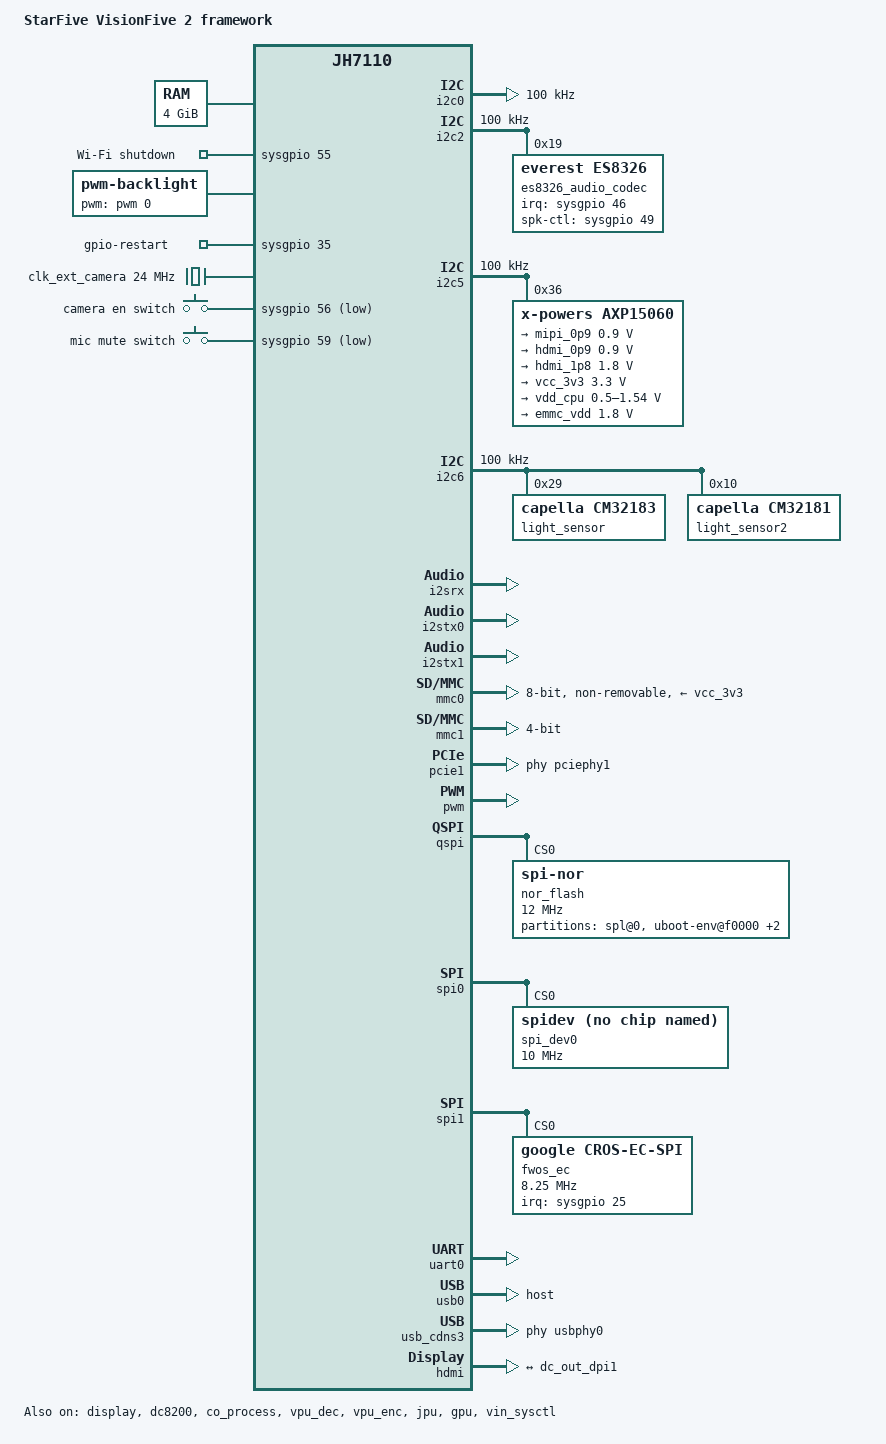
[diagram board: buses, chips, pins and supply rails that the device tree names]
// SPDX-License-Identifier: GPL-2.0 OR MIT
/*
 * Copyright (C) 2022 StarFive Technology Co., Ltd.
 * Copyright (C) 2022 Emil Renner Berthing <kernel@esmil.dk>
 */

/dts-v1/;
#include "jh7110.dtsi"
#include "jh7110-pinfunc.h"
#include <dt-bindings/leds/common.h>
#include <dt-bindings/gpio/gpio.h>
#include <dt-bindings/input/linux-event-codes.h>

/ {
	model = "StarFive VisionFive 2 framework";
	compatible = "starfive,visionfive-2-framework", "starfive,jh7110";

	aliases {
//		ethernet0 = &gmac0;
//		ethernet1 = &gmac1;
		i2c0 = &i2c0;
		i2c1 = &i2c1;
		i2c2 = &i2c2;
		i2c3 = &i2c3;
		i2c4 = &i2c4;
		i2c5 = &i2c5;
		i2c6 = &i2c6;
		mmc0 = &mmc0;
		mmc1 = &mmc1;
		pcie0 = &pcie0;
		pcie1 = &pcie1;
		serial0 = &uart0;
		serial3 = &uart3;
	};

	chosen {
		stdout-path = "serial0:115200n8";
	};

	cpus {
		timebase-frequency = <4000000>;
	};

	memory@40000000 {
		device_type = "memory";
		reg = <0x0 0x40000000 0x1 0x0>;
	};

	reserved-memory {
		#address-cells = <2>;
		#size-cells = <2>;
		ranges;

		linux,cma {
			compatible = "shared-dma-pool";
			reusable;
			size = <0x0 0x20000000>;
			alignment = <0x0 0x1000>;
			alloc-ranges = <0x0 0x70000000 0x0 0x20000000>;
			linux,cma-default;
		};

		e24_mem: e24@c0000000 {
			reg = <0x0 0x6ce00000 0x0 0x1600000>;
		};

		xrp_reserved: xrpbuffer@f0000000 {
			reg = <0x0 0x69c00000 0x0 0x01ffffff
				0x0 0x6bc00000 0x0 0x00001000
				0x0 0x6bc01000 0x0 0x00fff000
				0x0 0x6cc00000 0x0 0x00001000>;
		};
	};

//	leds {
//		compatible = "gpio-leds";
//
//		led-ack {
//			gpios = <&aongpio 3 GPIO_ACTIVE_HIGH>;
//			color = <LED_COLOR_ID_GREEN>;
//			function = LED_FUNCTION_HEARTBEAT;
//			linux,default-trigger = "heartbeat";
//			label = "ack";
//		};
//	};

	rfkill_wifi {
		compatible = "rfkill-gpio";
		label = "Wi-Fi";
		radio-type = "wlan";
		shutdown-gpios = <&sysgpio 55 GPIO_ACTIVE_HIGH>;
	};

	backlight: backlight {
		compatible = "pwm-backlight";
		pwms = <&pwm 0 5000000 0 >;
		status = "okay";
		brightness-levels = <
			0   1   2   3   4   5   6   7
			8   9  10  11  12  13  14  15
		       16  17  18  19  20  21  22  23
		       24  25  26  27  28  29  30  31
		       32  33  34  35  36  37  38  39
		       40  41  42  43  44  45  46  47
		       48  49  50  51  52  53  54  55
		       56  57  58  59  60  61  62  63
		       64  65  66  67  68  69  70  71
		       72  73  74  75  76  77  78  79
		       80  81  82  83  84  85  86  87
		       88  89  90  91  92  93  94  95
		       96  97  98  99 100 101 102 103
		      104 105 106 107 108 109 110 111
		      112 113 114 115 116 117 118 119
		      120 121 122 123 124 125 126 127
		      128 129 130 131 132 133 134 135
		      136 137 138 139 140 141 142 143
		      144 145 146 147 148 149 150 151
		      152 153 154 155 156 157 158 159
		      160 161 162 163 164 165 166 167
		      168 169 170 171 172 173 174 175
		      176 177 178 179 180 181 182 183
		      184 185 186 187 188 189 190 191
		      192 193 194 195 196 197 198 199
		      200 201 202 203 204 205 206 207
		      208 209 210 211 212 213 214 215
		      216 217 218 219 220 221 222 223
		      224 225 226 227 228 229 230 231
		      232 233 234 235 236 237 238 239
		      240 241 242 243 244 245 246 247
		      248 249 250 251 252 253 254 255>;
		default-brightness-level = <255>;
	};

	gpio-restart {
		compatible = "gpio-restart";
		gpios = <&sysgpio 35 GPIO_ACTIVE_HIGH>;
		priority = <224>;
	};

//	pwmdac_codec: pwmdac-codec {
//		compatible = "linux,spdif-dit";
//		#sound-dai-cells = <0>;
//	};

	sound7: snd-card7 {
		compatible = "simple-audio-card";
		simple-audio-card,name = "Starfive-ES8326-Sound-Card";
		#address-cells = <1>;
		#size-cells = <0>;
	};
		
//	sound3: snd-card3 {
//		compatible = "simple-audio-card";
//		simple-audio-card,name = "Starfive-PWMDAC-Sound-Card";
//		#address-cells = <1>;
//		#size-cells = <0>;
//
//		simple-audio-card,dai-link@0 {
//			reg = <0>;
//			format = "left_j";
//			bitclock-master = <&sndcpu0>;
//			frame-master = <&sndcpu0>;
//
//			sndcpu0: cpu {
//				sound-dai = <&pwmdac>;
//			};
//
//			codec {
//				sound-dai = <&pwmdac_codec>;
//			};
//		};
//	};

	sound1: snd-card1 {
		compatible = "simple-audio-card";
		#address-cells = <1>;
		#size-cells = <0>;

		simple-audio-card,name = "Starfive-HDMI-Sound-Card";
		simple-audio-card,dai-link@0 {
			reg = <0>;
			format = "i2s";
			bitclock-master = <&sndi2s0>;
			frame-master = <&sndi2s0>;
			mclk-fs = <256>;
			status = "okay";

			sndi2s0: cpu {
				sound-dai = <&i2stx0>;
			};

			codec {
				sound-dai = <&hdmi>;
			};
		};
	};

//	ac108_mclk: ac108_mclk {
//		compatible = "fixed-clock";
//		#clock-cells = <0>;
//		clock-frequency = <24000000>;
//	};

	clk_ext_camera: clk-ext-camera {
		compatible = "fixed-clock";
		#clock-cells = <0>;
		clock-frequency = <24000000>;
	};

//	wm8960_mclk: wm8960_mclk {
//		compatible = "fixed-clock";
//		#clock-cells = <0>;
//		clock-frequency = <24576000>;
//	};

	gpio_keys: gpio-keys {
		status = "okay";
		compatible = "gpio-keys";
		autorepeat;

		camera-en-sw {
			label = "camera en switch";
			debounce-interval = <10>;
			linux,input-type = <EV_SW>;
			linux,code = <SW_CAMERA_LENS_COVER>;
			gpios = <&sysgpio 56 GPIO_ACTIVE_LOW>;
		};

		mic-mute-sw {
			label = "mic mute switch";
			debounce-interval = <10>;
			linux,input-type = <EV_SW>;
			linux,code = <SW_MUTE_DEVICE>;
			gpios = <&sysgpio 59 GPIO_ACTIVE_LOW>;
		};
	};
};

&dvp_clk {
	clock-frequency = <74250000>;
};

//&gmac0_rgmii_rxin {
//	clock-frequency = <125000000>;
//};

//&gmac0_rmii_refin {
//	clock-frequency = <50000000>;
//};

//&gmac1_rgmii_rxin {
//	clock-frequency = <125000000>;
//};

//&gmac1_rmii_refin {
//	clock-frequency = <50000000>;
//};

&hdmitx0_pixelclk {
	clock-frequency = <297000000>;
};

&i2srx_bclk_ext {
	clock-frequency = <12288000>;
};

&i2srx_lrck_ext {
	clock-frequency = <192000>;
};

&i2stx_bclk_ext {
	clock-frequency = <12288000>;
};

&i2stx_lrck_ext {
	clock-frequency = <192000>;
};

&mclk_ext {
	clock-frequency = <12288000>;
};

&osc {
	clock-frequency = <24000000>;
};

&rtc_osc {
	clock-frequency = <32768>;
};

&tdm_ext {
	clock-frequency = <49152000>;
};

//&gmac0 {
//	phy-handle = <&phy0>;
//	phy-mode = "rgmii-id";
//	status = "okay";
//
//	mdio {
//		#address-cells = <1>;
//		#size-cells = <0>;
//		compatible = "snps,dwmac-mdio";
//
//		phy0: ethernet-phy@0 {
//			reg = <0>;
//		};
//	};
//};

//&gmac1 {
//	phy-handle = <&phy1>;
//	phy-mode = "rgmii-id";
//	status = "okay";
//
//	mdio {
//		#address-cells = <1>;
//		#size-cells = <0>;
//		compatible = "snps,dwmac-mdio";
//
//		phy1: ethernet-phy@1 {
//			reg = <0>;
//		};
//	};
//};

&i2c0 {
	clock-frequency = <100000>;
	i2c-sda-hold-time-ns = <300>;
	i2c-sda-falling-time-ns = <510>;
	i2c-scl-falling-time-ns = <510>;
	pinctrl-names = "default";
	pinctrl-0 = <&i2c0_pins>;
	status = "okay";
};

&i2c2 {
	clock-frequency = <100000>;
	i2c-sda-hold-time-ns = <300>;
	i2c-sda-falling-time-ns = <510>;
	i2c-scl-falling-time-ns = <510>;
	pinctrl-names = "default";
	pinctrl-0 = <&i2c2_pins>;
	status = "okay";

//	seeed_plane_i2c@45 {
//		compatible = "seeed_panel";
//		reg = <0x45>;
//
//		port {
//			panel_out0: endpoint {
//				remote-endpoint = <&dsi0_output>;
//			};
//		};
//	};

	tinker_ft5406: tinker_ft5406@38 {
		compatible = "tinker_ft5406";
		reg = <0x38>;
		status = "disabled";
	};

	touchscreen@14 {
		compatible = "goodix,gt911";
		reg = <0x14>;
		irq-gpios = <&sysgpio 30 GPIO_ACTIVE_HIGH>;
		reset-gpios = <&sysgpio 31 GPIO_ACTIVE_HIGH>;
		status = "disabled";
	};

//	panel_radxa@19 {
//		compatible ="starfive_jadard";
//		reg = <0x19>;
//		reset-gpio = <&sysgpio 23 0>;
//		enable-gpio = <&sysgpio 22 0>;
//
//		port {
//			panel_out1: endpoint {
//				remote-endpoint = <&dsi1_output>;
//			};
//		};
//	};

	es8326_audio_codec: es8326@19 {
		#sound-dai-cells = <0>;
		compatible = "everest,es8326";
		reg = <0x19>;
		irq-gpio = <&sysgpio 46 0>;
		spk-ctl-gpio = <&sysgpio 49 0>;
//		everest,jack-detect-inverted;
		everest,jack-pol = [0e];
		everest,mic1-src = [00];
		everest,mic2-src = [44];
		everest,interrupt-src = [08];
        everest,interrupt-clk = [45];
		status = "okay";
	};
};

&i2c5 {
	clock-frequency = <100000>;
	i2c-sda-hold-time-ns = <300>;
	i2c-sda-falling-time-ns = <510>;
	i2c-scl-falling-time-ns = <510>;
	pinctrl-names = "default";
	pinctrl-0 = <&i2c5_pins>;
	status = "okay";

	axp15060: pmic@36 {
		compatible = "x-powers,axp15060";
		reg = <0x36>;
		interrupts = <0>;
		interrupt-controller;
		#interrupt-cells = <1>;

		regulators {
			mipi_0p9: ALDO1 {
				regulator-boot-on;
				regulator-compatible = "aldo1";
				regulator-name = "mipi_0p9";
				regulator-min-microvolt = <900000>;
				regulator-max-microvolt = <900000>;
			};

			hdmi_0p9: ALDO5 {
				regulator-boot-on;
				regulator-compatible = "aldo5";
				regulator-name = "hdmi_0p9";
				regulator-min-microvolt = <900000>;
				regulator-max-microvolt = <900000>;
			};

			hdmi_1p8: ALDO3 {
				regulator-boot-on;
				regulator-compatible = "aldo3";
				regulator-name = "hdmi_1p8";
				regulator-min-microvolt = <1800000>;
				regulator-max-microvolt = <1800000>;
			};

			vcc_3v3: dcdc1 {
				regulator-boot-on;
				regulator-always-on;
				regulator-min-microvolt = <3300000>;
				regulator-max-microvolt = <3300000>;
				regulator-compatible = "dcdc1";
				regulator-name = "vcc_3v3";
			};

			vdd_cpu: dcdc2 {
				regulator-always-on;
				regulator-min-microvolt = <500000>;
				regulator-max-microvolt = <1540000>;
				regulator-compatible = "dcdc2";
				regulator-name = "vdd-cpu";
			};

			emmc_vdd: aldo4 {
				regulator-boot-on;
				regulator-always-on;
				regulator-min-microvolt = <1800000>;
				regulator-max-microvolt = <1800000>;
				regulator-compatible = "aldo4";
				regulator-name = "emmc_vdd";
			};
		};
	};
};

&i2c6 {
	clock-frequency = <100000>;
	i2c-sda-hold-time-ns = <300>;
	i2c-sda-falling-time-ns = <510>;
	i2c-scl-falling-time-ns = <510>;
	pinctrl-names = "default";
	pinctrl-0 = <&i2c6_pins>;
	status = "okay";

	imx219: imx219@10 {
		compatible = "sony,imx219";
		reg = <0x10>;
		clocks = <&clk_ext_camera>;
		clock-names = "xclk";
		reset-gpio = <&sysgpio 18 0>;
		rotation = <0>;
		orientation = <1>; //CAMERA_ORIENTATION_BACK
		status = "disabled";

		port {
			/* CSI2 bus endpoint */
			imx219_to_csi2rx0: endpoint {
				remote-endpoint = <&csi2rx0_from_imx219>;
				bus-type = <4>;      /* MIPI CSI-2 D-PHY */
				clock-lanes = <4>;
				data-lanes = <0 1>;
				lane-polarities = <0 0 0>;
				link-frequencies = /bits/ 64 <456000000>;
			};
		};
	};

	imx708: imx708@1a {
		compatible = "sony,imx708";
		reg = <0x1a>;
		clocks = <&clk_ext_camera>;
		reset-gpio = <&sysgpio 18 0>;
		status = "disabled";

		port {
			imx708_to_csi2rx0: endpoint {
				remote-endpoint = <&csi2rx0_from_imx708>;
				data-lanes = <1 2>;
				clock-noncontinuous;
				link-frequencies = /bits/ 64 <450000000>;
			};
		};
	};

	ov4689: ov4689@36 {
		compatible = "ovti,ov4689";
		reg = <0x36>;
		clocks = <&clk_ext_camera>;
		clock-names = "xclk";
		rotation = <180>;
		status = "disabled";

		port {
			/* Parallel bus endpoint */
			ov4689_to_csi2rx0: endpoint {
				remote-endpoint = <&csi2rx0_from_ov4689>;
				bus-type = <4>;		/* MIPI CSI-2 D-PHY */
				clock-lanes = <0>;
				data-lanes = <1 2>;
			};
		};
	};

	touchpad: hid@2c {
		compatible = "hid-over-i2c";
		reg = <0x2c>;
		hid-descr-addr = <0x0020>;
		post-power-on-delay-ms = <200>;
		irq-gpio = <&sysgpio 30 0>;
		status = "okay";
	};

	light_sensor: cm32183@29 {
		compatible = "capella,cm32183";
		reg = <0x29>;
//		interrupt-parent = <&sysgpio>;
//		interrupts = <47>;
//		irq-gpio = <&gpio 47 0>;
		status = "okay";
	};

	light_sensor2: cm32181@10 {
		compatible = "capella,cm32181";
		reg = <0x10>;
		status = "okay";
	};
};

&i2srx {
	pinctrl-names = "default";
	pinctrl-0 = <&i2srx_pins>;
	status = "okay";
};

&i2stx0 {
	pinctrl-names = "default";
	pinctrl-0 = <&mclk_ext_pins>;
	status = "okay";
};

&i2stx1 {
	pinctrl-names = "default";
	pinctrl-0 = <&i2stx1_pins>;
	status = "okay";
};

&mmc0 {
	max-frequency = <100000000>;
	assigned-clocks = <&syscrg JH7110_SYSCLK_SDIO0_SDCARD>;
	assigned-clock-rates = <50000000>;
	bus-width = <8>;
	cap-mmc-highspeed;
	mmc-ddr-1_8v;
	mmc-hs200-1_8v;
	non-removable;
	cap-mmc-hw-reset;
	post-power-on-delay-ms = <200>;
	pinctrl-names = "default";
	pinctrl-0 = <&mmc0_pins>;
	vmmc-supply = <&vcc_3v3>;
	vqmmc-supply = <&emmc_vdd>;
	status = "okay";
};

&mmc1 {
	max-frequency = <100000000>;
	assigned-clocks = <&syscrg JH7110_SYSCLK_SDIO1_SDCARD>;
	assigned-clock-rates = <50000000>;
	bus-width = <4>;
	no-sdio;
	no-mmc;
	broken-cd;
	cap-sd-highspeed;
	post-power-on-delay-ms = <200>;
	pinctrl-names = "default";
	pinctrl-0 = <&mmc1_pins>;
	status = "okay";
};

&pcie0 {
	perst-gpios = <&sysgpio 26 GPIO_ACTIVE_LOW>;
	phys = <&pciephy0>;
	pinctrl-names = "default";
	pinctrl-0 = <&pcie0_pins>;
	status = "disabled";
};

&pcie1 {
	perst-gpios = <&sysgpio 21 GPIO_ACTIVE_LOW>;
	phys = <&pciephy1>;
	pinctrl-names = "default";
	pinctrl-0 = <&pcie1_pins>;
	status = "okay";
};

&pciephy0 {
	starfive,sys-syscon = <&sys_syscon 0x18>;
	starfive,stg-syscon = <&stg_syscon 0x148 0x1f4>;
};

&pwm {
	pinctrl-names = "default";
	pinctrl-0 = <&pwm_pins>;
	status = "okay";
};

//&pwmdac {
//	pinctrl-names = "default";
//	pinctrl-0 = <&pwmdac_pins>;
//	status = "okay";
//};

&qspi {
	#address-cells = <1>;
	#size-cells = <0>;
	status = "okay";

	nor_flash: flash@0 {
		compatible = "jedec,spi-nor";
		reg = <0>;
		cdns,read-delay = <5>;
		spi-max-frequency = <12000000>;
		cdns,tshsl-ns = <1>;
		cdns,tsd2d-ns = <1>;
		cdns,tchsh-ns = <1>;
		cdns,tslch-ns = <1>;

		partitions {
			compatible = "fixed-partitions";
			#address-cells = <1>;
			#size-cells = <1>;

			spl@0 {
				reg = <0x0 0x80000>;
			};
			uboot-env@f0000 {
				reg = <0xf0000 0x10000>;
			};
			uboot@100000 {
				reg = <0x100000 0x400000>;
			};
			reserved-data@600000 {
				reg = <0x600000 0xa00000>;
			};
		};
	};
};

&spi0 {
	pinctrl-names = "default";
	pinctrl-0 = <&spi0_pins>;
	status = "okay";

	spi_dev0: spi@0 {
		compatible = "rohm,dh2228fv";
		reg = <0>;
		spi-max-frequency = <10000000>;
	};
};

&spi1 {
	pinctrl-names = "default";
	pinctrl-0 = <&spi1_pins>;
	status = "okay";

	fwos_ec: spi@1 {
		compatible = "google,cros-ec-spi";
		irq-gpio = <&sysgpio 25 0>;
		pl022,interface = <0>;
		pl022,com-mode = <1>;
		spi-max-frequency = <8250000>;
		reg = <0>;
		google,fwos-ec-spi-pre-delay = <10>;
		google,fwos-ec-spi-msg-delay = <30>;
		status = "okay";
	};
};

&sysgpio {
	i2c0_pins: i2c0-0 {
		i2c-pins {
			pinmux = <GPIOMUX(57, GPOUT_LOW,
					      GPOEN_SYS_I2C0_CLK,
					      GPI_SYS_I2C0_CLK)>,
				 <GPIOMUX(58, GPOUT_LOW,
					      GPOEN_SYS_I2C0_DATA,
					      GPI_SYS_I2C0_DATA)>;
			bias-disable; /* external pull-up */
			input-enable;
			input-schmitt-enable;
		};
	};

	i2c2_pins: i2c2-0 {
		i2c-pins {
			pinmux = <GPIOMUX(3, GPOUT_LOW,
					     GPOEN_SYS_I2C2_CLK,
					     GPI_SYS_I2C2_CLK)>,
				 <GPIOMUX(2, GPOUT_LOW,
					     GPOEN_SYS_I2C2_DATA,
					     GPI_SYS_I2C2_DATA)>;
			bias-disable; /* external pull-up */
			input-enable;
			input-schmitt-enable;
		};
	};

	i2c5_pins: i2c5-0 {
		i2c-pins {
			pinmux = <GPIOMUX(19, GPOUT_LOW,
					      GPOEN_SYS_I2C5_CLK,
					      GPI_SYS_I2C5_CLK)>,
				 <GPIOMUX(20, GPOUT_LOW,
					      GPOEN_SYS_I2C5_DATA,
					      GPI_SYS_I2C5_DATA)>;
			bias-disable; /* external pull-up */
			input-enable;
			input-schmitt-enable;
		};
	};

	i2c6_pins: i2c6-0 {
		i2c-pins {
			pinmux = <GPIOMUX(16, GPOUT_LOW,
					      GPOEN_SYS_I2C6_CLK,
					      GPI_SYS_I2C6_CLK)>,
				 <GPIOMUX(17, GPOUT_LOW,
					      GPOEN_SYS_I2C6_DATA,
					      GPI_SYS_I2C6_DATA)>;
			bias-disable; /* external pull-up */
			input-enable;
			input-schmitt-enable;
		};
	};

	i2srx_pins: i2srx-0 {
		clk-sd-pins {
			pinmux = <GPIOMUX(38, GPOUT_LOW,
					      GPOEN_DISABLE,
					      GPI_SYS_I2SRX_BCLK)>,
				 <GPIOMUX(63, GPOUT_LOW,
					      GPOEN_DISABLE,
					      GPI_SYS_I2SRX_LRCK)>,
				 <GPIOMUX(38, GPOUT_LOW,
					      GPOEN_DISABLE,
					      GPI_SYS_I2STX1_BCLK)>,
				 <GPIOMUX(63, GPOUT_LOW,
					      GPOEN_DISABLE,
					      GPI_SYS_I2STX1_LRCK)>,
				 <GPIOMUX(44, GPOUT_LOW,
					      GPOEN_DISABLE,
					      GPI_SYS_I2SRX_SDIN0)>;
			input-enable;
		};
	};

	i2stx1_pins: i2stx1-0 {
		sd-pins {
			pinmux = <GPIOMUX(61, GPOUT_SYS_I2STX1_SDO0,
					      GPOEN_ENABLE,
					      GPI_NONE)>;
			bias-disable;
			input-disable;
		};
	};

	mclk_ext_pins: mclk-ext-0 {
		mclk-ext-pins {
			pinmux = <GPIOMUX(4, GPOUT_LOW,
					     GPOEN_DISABLE,
					     GPI_SYS_MCLK_EXT)>;
			input-enable;
		};
	};

	mmc0_pins: mmc0-0 {
		 rst-pins {
			pinmux = <GPIOMUX(62, GPOUT_SYS_SDIO0_RST,
					      GPOEN_ENABLE,
					      GPI_NONE)>;
			bias-pull-up;
			drive-strength = <12>;
			input-disable;
			input-schmitt-disable;
			slew-rate = <0>;
		};

		mmc-pins {
			pinmux = <PINMUX(64, 0)>,
				 <PINMUX(65, 0)>,
				 <PINMUX(66, 0)>,
				 <PINMUX(67, 0)>,
				 <PINMUX(68, 0)>,
				 <PINMUX(69, 0)>,
				 <PINMUX(70, 0)>,
				 <PINMUX(71, 0)>,
				 <PINMUX(72, 0)>,
				 <PINMUX(73, 0)>;
			bias-pull-up;
			drive-strength = <12>;
			input-enable;
		};
	};

	mmc1_pins: mmc1-0 {
		clk-pins {
			pinmux = <GPIOMUX(10, GPOUT_SYS_SDIO1_CLK,
					      GPOEN_ENABLE,
					      GPI_NONE)>;
			bias-pull-up;
			drive-strength = <12>;
			input-disable;
			input-schmitt-disable;
			slew-rate = <0>;
		};

		mmc-pins {
			pinmux = <GPIOMUX(9, GPOUT_SYS_SDIO1_CMD,
					     GPOEN_SYS_SDIO1_CMD,
					     GPI_SYS_SDIO1_CMD)>,
				 <GPIOMUX(11, GPOUT_SYS_SDIO1_DATA0,
					      GPOEN_SYS_SDIO1_DATA0,
					      GPI_SYS_SDIO1_DATA0)>,
				 <GPIOMUX(12, GPOUT_SYS_SDIO1_DATA1,
					      GPOEN_SYS_SDIO1_DATA1,
					      GPI_SYS_SDIO1_DATA1)>,
				 <GPIOMUX(7, GPOUT_SYS_SDIO1_DATA2,
					     GPOEN_SYS_SDIO1_DATA2,
					     GPI_SYS_SDIO1_DATA2)>,
				 <GPIOMUX(8, GPOUT_SYS_SDIO1_DATA3,
					     GPOEN_SYS_SDIO1_DATA3,
					     GPI_SYS_SDIO1_DATA3)>;
			bias-pull-up;
			drive-strength = <12>;
			input-enable;
			input-schmitt-enable;
			slew-rate = <0>;
		};
	};

	pcie0_pins: pcie0-0 {
		clkreq-pins {
			pinmux = <GPIOMUX(27, GPOUT_LOW,
					      GPOEN_DISABLE,
					      GPI_NONE)>;
			bias-pull-down;
			drive-strength = <2>;
			input-enable;
			input-schmitt-disable;
			slew-rate = <0>;
		};

		wake-pins {
			pinmux = <GPIOMUX(32, GPOUT_LOW,
					      GPOEN_DISABLE,
					      GPI_NONE)>;
			bias-pull-up;
			drive-strength = <2>;
			input-enable;
			input-schmitt-disable;
			slew-rate = <0>;
		};
	};

	pcie1_pins: pcie1-0 {
		clkreq-pins {
			pinmux = <GPIOMUX(29, GPOUT_LOW,
					      GPOEN_DISABLE,
					      GPI_NONE)>;
			bias-pull-down;
			drive-strength = <2>;
			input-enable;
			input-schmitt-disable;
			slew-rate = <0>;
		};

		wake-pins {
			pinmux = <GPIOMUX(28, GPOUT_HIGH,
					      GPOEN_DISABLE,
					      GPI_NONE)>;
			bias-pull-up;
			drive-strength = <2>;
			input-enable;
			input-schmitt-disable;
			slew-rate = <0>;
		};
	};

	pwm_pins: pwm-0 {
		pwm-pins {
			pinmux = <GPIOMUX(22, GPOUT_SYS_PWM_CHANNEL0,
					      GPOEN_SYS_PWM0_CHANNEL0,
					      GPI_NONE)>;
			bias-disable;
			drive-strength = <12>;
			input-disable;
			input-schmitt-disable;
			slew-rate = <0>;
		};
	};

	pwmdac_pins: pwmdac-0 {
		pwmdac-pins {
			pinmux = <GPIOMUX(33, GPOUT_SYS_PWMDAC_LEFT,
					      GPOEN_ENABLE,
					      GPI_NONE)>,
				 <GPIOMUX(34, GPOUT_SYS_PWMDAC_RIGHT,
					      GPOEN_ENABLE,
					      GPI_NONE)>;
			bias-disable;
			drive-strength = <2>;
			input-disable;
			input-schmitt-disable;
			slew-rate = <0>;
		};
	};

	spi0_pins: spi0-0 {
		mosi-pins {
			pinmux = <GPIOMUX(52, GPOUT_SYS_SPI0_TXD,
					      GPOEN_ENABLE,
					      GPI_NONE)>;
			bias-disable;
			input-disable;
			input-schmitt-disable;
		};

		miso-pins {
			pinmux = <GPIOMUX(53, GPOUT_LOW,
					      GPOEN_DISABLE,
					      GPI_SYS_SPI0_RXD)>;
			bias-pull-up;
			input-enable;
			input-schmitt-enable;
		};

		sck-pins {
			pinmux = <GPIOMUX(48, GPOUT_SYS_SPI0_CLK,
					      GPOEN_ENABLE,
					      GPI_SYS_SPI0_CLK)>;
			bias-disable;
			input-disable;
			input-schmitt-disable;
		};

		ss-pins {
			pinmux = <GPIOMUX(49, GPOUT_SYS_SPI0_FSS,
					      GPOEN_ENABLE,
					      GPI_SYS_SPI0_FSS)>;
			bias-disable;
			input-disable;
			input-schmitt-disable;
		};
	};

	spi1_pins: spi1-0 {
		mosi-pins {
			pinmux = <GPIOMUX(39, GPOUT_SYS_SPI1_TXD,
					      GPOEN_ENABLE,
					      GPI_NONE)>;
			bias-disable;
			input-disable;
			input-schmitt-disable;
		};

		miso-pins {
			pinmux = <GPIOMUX(36, GPOUT_LOW,
					      GPOEN_DISABLE,
					      GPI_SYS_SPI1_RXD)>;
			bias-pull-up;
			input-enable;
			input-schmitt-enable;
		};

		sck-pins {
			pinmux = <GPIOMUX(58, GPOUT_SYS_SPI1_CLK,
					      GPOEN_ENABLE,
					      GPI_SYS_SPI1_CLK)>;
			bias-disable;
			input-disable;
			input-schmitt-disable;
		};

		ss-pins {
			pinmux = <GPIOMUX(57, GPOUT_SYS_SPI1_FSS,
					      GPOEN_ENABLE,
					      GPI_SYS_SPI1_FSS)>;
			bias-disable;
			input-disable;
			input-schmitt-disable;
		};
	};

	tdm_pins: tdm-0 {
		tx-pins {
			pinmux = <GPIOMUX(44, GPOUT_SYS_TDM_TXD,
					      GPOEN_ENABLE,
					      GPI_NONE)>;
			bias-pull-up;
			drive-strength = <2>;
			input-disable;
			input-schmitt-disable;
			slew-rate = <0>;
		};

		rx-pins {
			pinmux = <GPIOMUX(61, GPOUT_HIGH,
					      GPOEN_DISABLE,
					      GPI_SYS_TDM_RXD)>;
			input-enable;
		};

		sync-pins {
			pinmux = <GPIOMUX(63, GPOUT_HIGH,
					      GPOEN_DISABLE,
					      GPI_SYS_TDM_SYNC)>;
			input-enable;
		};

		pcmclk-pins {
			pinmux = <GPIOMUX(38, GPOUT_HIGH,
					      GPOEN_DISABLE,
					      GPI_SYS_TDM_CLK)>;
			input-enable;
		};
	};

	uart0_pins: uart0-0 {
		tx-pins {
			pinmux = <GPIOMUX(5, GPOUT_SYS_UART0_TX,
					     GPOEN_ENABLE,
					     GPI_NONE)>;
			bias-disable;
			drive-strength = <12>;
			input-disable;
			input-schmitt-disable;
			slew-rate = <0>;
		};

		rx-pins {
			pinmux = <GPIOMUX(6, GPOUT_LOW,
					     GPOEN_DISABLE,
					     GPI_SYS_UART0_RX)>;
			bias-disable; /* external pull-up */
			drive-strength = <2>;
			input-enable;
			input-schmitt-enable;
			slew-rate = <0>;
		};
	};

	hdmi_pins: hdmi-0 {
		scl-pins {
			pinmux = <GPIOMUX(0, GPOUT_SYS_HDMI_DDC_SCL,
					     GPOEN_SYS_HDMI_DDC_SCL,
					     GPI_SYS_HDMI_DDC_SCL)>;
			bias-pull-up;
			input-enable;
		};

		sda-pins {
			pinmux = <GPIOMUX(1, GPOUT_SYS_HDMI_DDC_SDA,
					     GPOEN_SYS_HDMI_DDC_SDA,
					     GPI_SYS_HDMI_DDC_SDA)>;
			bias-pull-up;
			input-enable;
		};

		cec-pins {
			pinmux = <GPIOMUX(14, GPOUT_SYS_HDMI_CEC_SDA,
					      GPOEN_SYS_HDMI_CEC_SDA,
					      GPI_SYS_HDMI_CEC_SDA)>;
			bias-pull-up;
			input-enable;
		};

		hpd-pins {
			pinmux = <GPIOMUX(15, GPOUT_LOW,
					      GPOEN_DISABLE,
					      GPI_SYS_HDMI_HPD)>;
			bias-disable; /* external pull-up */
			input-enable;
		};
	};
};

&tdm {
	pinctrl-names = "default";
	pinctrl-0 = <&tdm_pins>;
	status = "disabled";
};

&uart0 {
	pinctrl-names = "default";
	pinctrl-0 = <&uart0_pins>;
	status = "okay";
};

&usb0 {
	dr_mode = "host"; /*host or peripheral*/
	status = "okay";
};

&usb_cdns3 {
	phys = <&usbphy0>, <&pciephy0>;
	phy-names = "cdns3,usb2-phy", "cdns3,usb3-phy";
};

&U74_1 {
	cpu-supply = <&vdd_cpu>;
};

&U74_2 {
	cpu-supply = <&vdd_cpu>;
};

&U74_3 {
	cpu-supply = <&vdd_cpu>;
};

&U74_4 {
	cpu-supply = <&vdd_cpu>;
};


&display {
	ports = <&dc_out_dpi0>;
	status = "okay";
};

&dc8200 {
	status = "okay";

	dc_out: port {
		#address-cells = <1>;
		#size-cells = <0>;
		dc_out_dpi0: endpoint@0 {
			reg = <0>;
			remote-endpoint = <&hdmi_input0>;
		};
		dc_out_dpi1: endpoint@1 {
			reg = <1>;
			remote-endpoint = <&hdmi_in_lcdc>;
		};

//		dc_out_dpi2: endpoint@2 {
//			reg = <2>;
//			remote-endpoint = <&mipi_in>;
//		};
		};
};

&hdmi {
	status = "okay";
	pinctrl-names = "default";
	pinctrl-0 = <&hdmi_pins>;
	hpd-gpio = <&sysgpio 15 GPIO_ACTIVE_HIGH>;
	hdmi_0p9-supply = <&hdmi_0p9>;
	hdmi_1p8-supply = <&hdmi_1p8>;

	hdmi_in: port {
		#address-cells = <1>;
		#size-cells = <0>;
		hdmi_in_lcdc: endpoint@0 {
			reg = <0>;
			remote-endpoint = <&dc_out_dpi1>;
		};
	};
};

&rgb_output {
	status = "disabled";

	ports {
		#address-cells = <1>;
		#size-cells = <0>;
		port@0 {
			#address-cells = <1>;
			#size-cells = <0>;
			reg = <0>;
			hdmi_input0:endpoint@0 {
				reg = <0>;
				remote-endpoint = <&dc_out_dpi0>;
			};
		};
	};
};

//&dsi_output {
//	status = "okay";
//
//	ports {
//		#address-cells = <1>;
//		#size-cells = <0>;
//
//		port@0 {
//			reg = <0>;
//			mipi_in: endpoint {
//				remote-endpoint = <&dc_out_dpi2>;
//			};
//		};
//
//		port@1 {
//			reg = <1>;
//			sf_dpi_output: endpoint {
//				remote-endpoint = <&dsi_in_port>;
//			};
//		};
//	};
//};

//&mipi_dsi {
//	status = "okay";
//
//	ports {
//		#address-cells = <1>;
//		#size-cells = <0>;
//
//		port@0 {
//			reg = <0>;
//			#address-cells = <1>;
//			#size-cells = <0>;
//
//			dsi0_output: endpoint@0 {
//				reg = <0>;
//				remote-endpoint = <&panel_out0>;
//			};
//
//			dsi1_output: endpoint@1 {
//				reg = <1>;
//				remote-endpoint = <&panel_out1>;
//			};
//
//		};
//
//		port@1{
//			reg = <1>;
//			dsi_in_port: endpoint {
//				remote-endpoint = <&sf_dpi_output>;
//			};
//		};
//
//	};
//};
//
//&mipi_dphy {
//	status = "okay";
//};

&co_process {
	memory-region = <&e24_mem>;
	status = "okay";
};


&mailbox_contrl0 {
	status = "okay";
};

&mailbox_client0 {
	status = "okay";
};

&vpu_dec {
	status = "okay";
};

&vpu_enc {
	status = "okay";
};

&jpu {
	status = "okay";
};

&gpu {
	status = "okay";
};

&vin_sysctl {
	/* when use dvp open this pinctrl*/
	status = "okay";
	mipi_0p9-supply = <&mipi_0p9>;

	ports {
		#address-cells = <1>;
		#size-cells = <0>;

		port@1 {
			reg = <1>;
			#address-cells = <1>;
			#size-cells = <0>;

			/* CSI2 bus endpoint */
			csi2rx0_from_imx219: endpoint@0 {
				reg = <0>;
				remote-endpoint = <&imx219_to_csi2rx0>;
				bus-type = <4>;      /* MIPI CSI-2 D-PHY */
				clock-lanes = <4>;
				data-lanes = <0 1>;
				lane-polarities = <0 0 0>;
				status = "disabled";
			};

			csi2rx0_from_imx708: endpoint@1 {
				reg = <1>;
				remote-endpoint = <&imx708_to_csi2rx0>;
				bus-type = <4>;      /* MIPI CSI-2 D-PHY */
				clock-lanes = <4>;
				data-lanes = <0 1>;
				lane-polarities = <0 0 0>;
				status = "disabled";
			};

			csi2rx0_from_ov4689: endpoint@2 {
				reg = <2>;
				remote-endpoint = <&ov4689_to_csi2rx0>;
				bus-type = <4>;      /* MIPI CSI-2 D-PHY */
				clock-lanes = <4>;
				data-lanes = <0 1>;
				status = "disabled";
			};
		};
	};
};

&sound7 {
	/* i2s + es8326 */
	simple-audio-card,dai-link@0 {
		reg = <0>;
		format = "i2s";
		bitclock-master = <&sndcodec1>;
		frame-master = <&sndcodec1>;
		mclk-fs = <256>;
		status = "okay";

		cpu0 {
			sound-dai = <&i2stx1>;
		};

		cpu1 {
			sound-dai = <&i2srx>;
		};

		sndcodec1: codec {
			sound-dai = <&es8326_audio_codec>;
		};
	};
};

&fwos_ec {
	keyboard-controller {
		compatible = "google,cros-ec-keyb-switches";
		status = "okay";
	};
};
